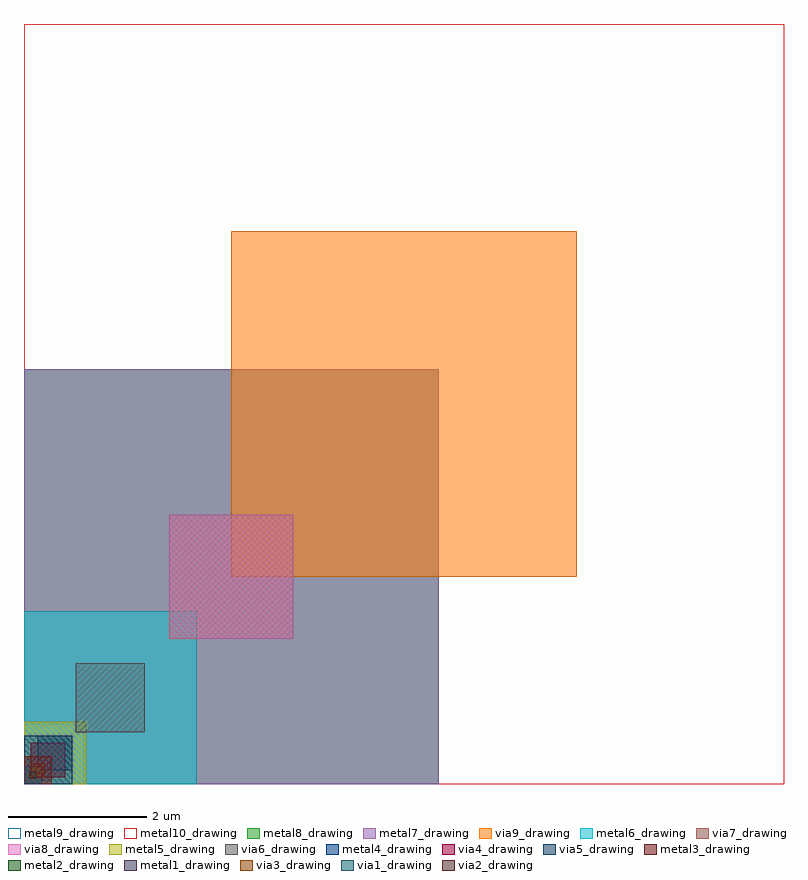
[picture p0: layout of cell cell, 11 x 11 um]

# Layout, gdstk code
import gdstk
lib = gdstk.Library(unit=1e-6, precision=1e-09)
def R(c, l, rs):  # rectangles x0, y0, x1, y1
    for r in rs: c.add(gdstk.rectangle(r[:2], r[2:], *l))
metal1_drawing = (8, 0)
via1_drawing = (9, 0)
metal2_drawing = (10, 0)
via2_drawing = (11, 0)
metal3_drawing = (12, 0)
via3_drawing = (13, 0)
metal4_drawing = (14, 0)
via4_drawing = (15, 0)
metal5_drawing = (16, 0)
via5_drawing = (17, 0)
metal6_drawing = (18, 0)
via6_drawing = (19, 0)
metal7_drawing = (20, 0)
via7_drawing = (21, 0)
metal8_drawing = (22, 0)
via8_drawing = (23, 0)
metal9_drawing = (24, 0)
via9_drawing = (25, 0)
metal10_drawing = (26, 0)

cell = lib.new_cell('cell')
R(cell, metal1_drawing, [(0,0,0.26,0.26)])
R(cell, via1_drawing, [(0.08,0.08,0.18,0.18)])
R(cell, metal2_drawing, [(0,0,0.26,0.26), (0,0,0.26,0.26)])
R(cell, via2_drawing, [(0.08,0.08,0.18,0.18)])
R(cell, metal3_drawing, [(0,0,0.26,0.26), (0,0,0.4,0.4)])
R(cell, via3_drawing, [(0.1,0.1,0.3,0.3)])
R(cell, metal4_drawing, [(0,0,0.4,0.4), (0,0,0.7,0.7)])
R(cell, via4_drawing, [(0.1,0.1,0.6,0.6)])
R(cell, metal5_drawing, [(0,0,0.7,0.7), (0,0,0.9,0.9)])
R(cell, via5_drawing, [(0.2,0.2,0.7,0.7)])
R(cell, metal6_drawing, [(0,0,0.9,0.9), (0,0,2.5,2.5)])
R(cell, via6_drawing, [(0.75,0.75,1.75,1.75)])
R(cell, metal7_drawing, [(0,0,2.5,2.5), (0,0,6,6)])
R(cell, via7_drawing, [(2.1,2.1,3.9,3.9)])
R(cell, metal8_drawing, [(0,0,6,6), (0,0,6,6)])
R(cell, via8_drawing, [(2.1,2.1,3.9,3.9)])
R(cell, metal9_drawing, [(0,0,6,6), (0,0,11,11)])
R(cell, via9_drawing, [(3,3,8,8)])
R(cell, metal10_drawing, [(0,0,11,11)])

lib.write_gds('cell.gds')
